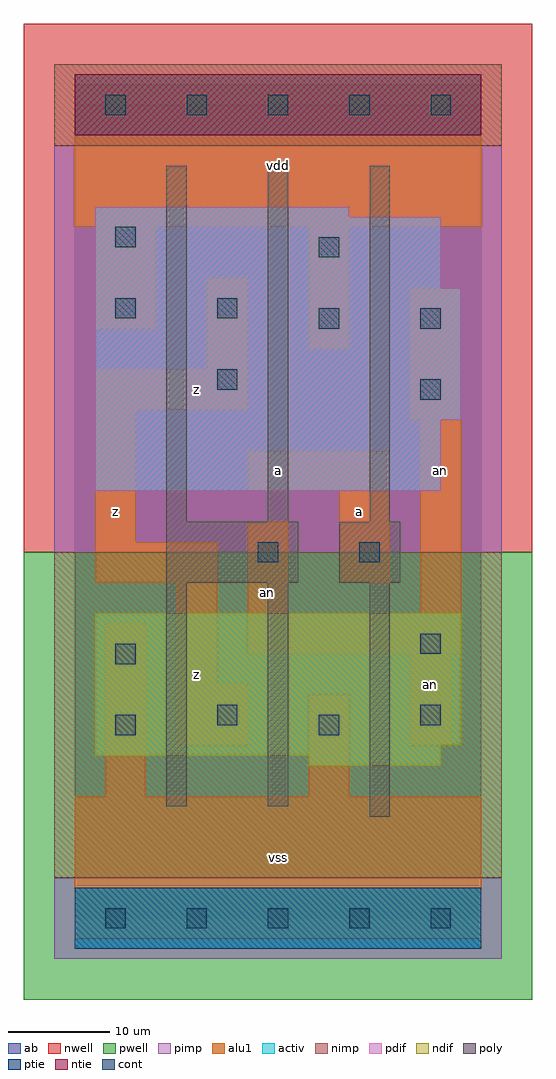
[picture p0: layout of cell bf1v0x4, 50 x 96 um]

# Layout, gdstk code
import gdstk
lib = gdstk.Library(unit=1e-6, precision=1e-09)
def R(c, l, rs):  # rectangles x0, y0, x1, y1
    for r in rs: c.add(gdstk.rectangle(r[:2], r[2:], *l))
def A(c, l, x, y, w, h, nx, ny, dx, dy):  # array of equal rectangles
    R(c, l, [(x+i*dx, y+j*dy, x+i*dx+w, y+j*dy+h) for i in range(nx) for j in range(ny)])
ndif = (3, 0)
pdif = (4, 0)
ntie = (5, 0)
ptie = (6, 0)
cont = (25, 0)
pwell = (41, 0)
nwell = (42, 0)
activ = (43, 0)
pimp = (44, 0)
nimp = (45, 0)
poly = (46, 0)
alu1 = (49, 0)
ab = (63, 0)

bf1v0x4 = lib.new_cell('bf1v0x4')
R(bf1v0x4, ndif, [(23,15,36,16), (2,16,36,17), (2,17,38,30)])
R(bf1v0x4, pdif, [(2,42,36,49), (2,49,38,62), (2,62,36,69), (2,69,27,70)])
R(bf1v0x4, ntie, [(0,77,40,83)])
R(bf1v0x4, ptie, [(0,-3,40,3)])
A(bf1v0x4, cont, 3, -1, 2, 2, 5, 2, 8, 80)
R(bf1v0x4, cont, [(4,18,6,20), (24,18,26,20), (14,19,16,21), (34,19,36,21), (4,25,6,27), (34,26,36,28), (18,35,20,37), (28,35,30,37), (34,51,36,53), (14,52,16,54), (24,58,26,60), (34,58,36,60), (4,59,6,61), (14,59,16,61), (24,65,26,67), (4,66,6,68)])
R(bf1v0x4, pwell, [(-5,-8,45,36)])
R(bf1v0x4, nwell, [(-5,36,45,88)])
R(bf1v0x4, activ, [(0,-3,40,3), (23,15,36,16), (2,16,36,17), (2,17,38,30), (2,42,36,49), (2,49,38,62), (2,62,36,69), (2,69,27,70), (0,77,40,83)])
R(bf1v0x4, pimp, [(-2,-4,42,4), (-2,36,42,76)])
R(bf1v0x4, nimp, [(-2,4,42,36), (-2,76,42,84)])
A(bf1v0x4, poly, 9, 39, 2, 35, 3, 1, 10, 0)
R(bf1v0x4, poly, [(29,10,31,33), (9,11,11,33), (19,11,21,33), (9,33,22,39), (26,33,32,39)])
R(bf1v0x4, alu1, [(0,-2,40,12), (3,12,7,29), (23,12,27,22), (10,17,17,23), (33,17,37,26), (10,23,14,33), (17,26,38,30), (17,30,21,39), (34,30,38,49), (2,33,14,37), (26,33,31,42), (2,37,6,50), (17,42,31,46), (33,49,38,62), (2,50,17,54), (13,54,17,63), (23,56,27,68), (2,58,8,68), (0,68,40,82)])
R(bf1v0x4, ab, [(0,0,40,80)])
bf1v0x4.add(gdstk.Label('an', (19,32), layer=49, texttype=0))
bf1v0x4.add(gdstk.Label('an', (35,23), layer=49, texttype=0))
bf1v0x4.add(gdstk.Label('an', (36,44), layer=49, texttype=0))
bf1v0x4.add(gdstk.Label('z', (4,40), layer=49, texttype=0))
bf1v0x4.add(gdstk.Label('z', (12,24), layer=49, texttype=0))
bf1v0x4.add(gdstk.Label('z', (12,52), layer=49, texttype=0))
bf1v0x4.add(gdstk.Label('vss', (20,6), layer=49, texttype=0))
bf1v0x4.add(gdstk.Label('a', (28,40), layer=49, texttype=0))
bf1v0x4.add(gdstk.Label('a', (20,44), layer=49, texttype=0))
bf1v0x4.add(gdstk.Label('vdd', (20,74), layer=49, texttype=0))

lib.write_gds('bf1v0x4.gds')
